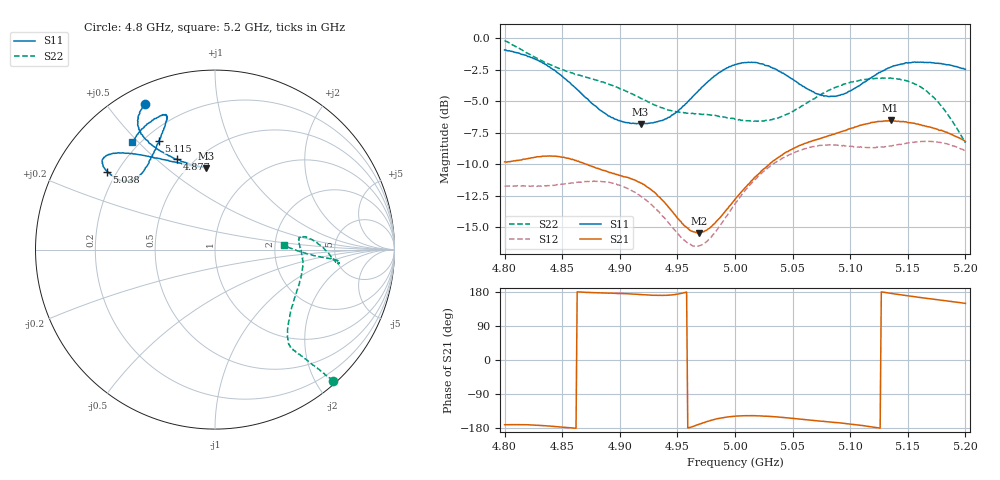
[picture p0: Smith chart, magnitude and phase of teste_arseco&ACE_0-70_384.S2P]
! Network Analyzer HP8722D
! Hewlett-Packard
! Data name: Linha & Wilkinson
! Saver's name: Rodrigo Anjos
! Comments: Teste da utilização de aquisição
! continua pelo VNA HP8722D
! Time and date: 8/5/2025 15:57
!  Frequency  S11  S21  S12  S22
# HZ  S  MA R 50
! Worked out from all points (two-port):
!   401 points, 4.8 GHz to 5.2 GHz, reference 50 ohm
!   highest |S21| = -6.52 dB at 5.135 GHz (marker M1); lowest = -15.5 dB at 4.969 GHz (marker M2)
!   |S21| within 3 dB of the highest: 4.822 GHz to 4.855 GHz (32.89 MHz wide, 0.68 % of centre); 5.037 GHz to end of sweep
!   lowest |S11| = -6.8 dB at 4.918 GHz (marker M3), VSWR 2.68, Z = 30.3 + j34.8 ohm
!   |S11| at or under -10 dB: nowhere
!   |S22| runs from -8.3 to -0.2 dB; largest |S21 - S12| = 0.83
!   S11 on the Smith chart (normalised r, x): 4.8 GHz: 0.07, +0.63; 4.877 GHz: 0.41, +0.59; 5.038 GHz: 0.16, +0.32; 5.115 GHz: 0.26, +0.58; 5.2 GHz: 0.17, +0.48
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4.8e9  0.8999 115.6  0.3234 -170.8  0.2591 -86.4  0.9817 -48.0
4.818e9  0.8581 119.9  0.3316 -170.8  0.2595 -82.4  0.8834 -49.0
4.835e9  0.7905 122.2  0.3409 -173.5  0.2598 -76.9  0.8036 -50.3
4.867e9  0.6022 117.5  0.3211 179.0  0.2686 -68.1  0.7101 -52.0
4.877e9  0.5465 112.8  0.3091 177.8  0.2709 -67.1  0.6889 -52.2
4.9e9  0.4712 100.7  0.2855 175.7  0.2607 -67.6  0.631 -50.4
4.918e9  0.457 96.0  0.2666 172.7  0.2364 -69.6  0.5789 -45.0
4.934e9  0.4695 100.2  0.2351 170.5  0.2047 -70.1  0.535 -36.9
4.956e9  0.5419 115.5  0.1802 177.6  0.1577 -60.4  0.5059 -22.5
4.969e9  0.6251 124.3  0.1684 -169.5  0.15 -46.0  0.5015 -14.6
4.98e9  0.6958 130.0  0.1798 -158.5  0.1639 -33.9  0.4951 -9.0
5e9  0.7871 137.4  0.2295 -148.4  0.2204 -21.6  0.4772 -0.3
5.018e9  0.8018 141.6  0.2825 -147.2  0.2767 -19.1  0.4695 5.7
5.038e9  0.7415 144.1  0.3376 -150.7  0.3279 -19.4  0.4846 8.6
5.067e9  0.6148 141.8  0.3918 -159.2  0.3715 -21.7  0.5711 3.8
5.087e9  0.5889 133.3  0.4181 -165.0  0.3773 -24.6  0.6392 -2.5
5.115e9  0.6829 117.2  0.4592 -174.8  0.3684 -27.7  0.688 -6.5
5.134e9  0.7647 110.7  0.4696 176.5  0.3731 -29.8  0.6947 -5.9
5.135e9  0.769 110.6  0.4721 176.1  0.3741 -29.9  0.6963 -5.8
5.161e9  0.8055 112.1  0.4541 164.9  0.3894 -36.3  0.6426 -4.5
5.179e9  0.7951 118.6  0.4318 157.8  0.3851 -42.1  0.5401 -3.1
5.2e9  0.7536 127.6  0.3895 149.4  0.3575 -47.8  0.3851 3.7
